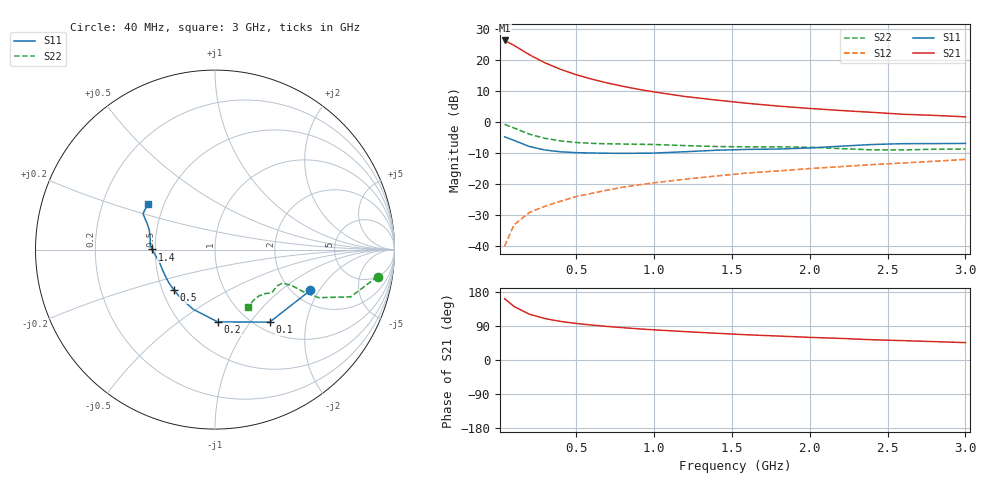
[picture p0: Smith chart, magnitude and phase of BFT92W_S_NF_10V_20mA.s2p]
! Filename:  BFT92WJ.S2P  Version:  4.0
! Philips part #: BFT92W  Date: Jun 1994
! Bias condition: Vce=10V, Ic=20mA
#  MHz  S  MA  R  50
! Freq  S11  S21  S12  S22  !GUM [dB]
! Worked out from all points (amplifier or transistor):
!   21 points, 40 MHz to 3 GHz, reference 50 ohm
!   highest |S21| = 26.3 dB at 40 MHz (marker M1)
!   |S21| within 3 dB of that: start of sweep to 146.6 MHz
!   unconditionally stable (mu >= 1): 455.2 MHz to end of sweep
!   at 300 MHz: K = 0.86, MSG = 23.1 dB, |S12| = -27.1 dB
!   at 1 GHz: K = 1.17, MAG = 12.1 dB, |S12| = -19.6 dB
!   at 3 GHz: K = 1.15, MAG = 4.5 dB, |S12| = -12.0 dB
!   lowest NFmin = 3.40 dB at 500 MHz
!   S11 on the Smith chart (normalised r, x): 40 MHz: 2.46, -1.68; 100 MHz: 1.15, -1.25; 200 MHz: 0.74, -0.71; 500 MHz: 0.57, -0.29; 1.4 GHz: 0.48, +0.00; 3 GHz: 0.41, +0.26
40  0.578 -23.1  20.59 161.8  0.01 78.3  0.918 -9.4
100  0.506 -53.0  17.17 141.4  0.022 68.8  0.801 -19.2
200  0.403 -87.9  12.1 120.8  0.035 63.3  0.636 -24.9
300  0.354 -110.1  8.97 109.3  0.044 62.5  0.545 -25.5
400  0.331 -125.4  7.047 101.8  0.053 63.5  0.496 -25.2
500  0.321 -135.6  5.781 96.4  0.063 64.6  0.468 -25.2
600  0.317 -143.7  4.906 92.2  0.071 65.8  0.453 -25.5
700  0.314 -150.1  4.255 88.5  0.08 66.4  0.446 -25.7
800  0.313 -155.6  3.763 85.3  0.089 67.1  0.442 -25.8
900  0.314 -160.8  3.365 82.2  0.097 67.4  0.438 -25.8
1000  0.316 -165.8  3.05 79.6  0.105 67.7  0.434 -26.0
1200  0.332 -174.1  2.574 74.9  0.12 68.1  0.417 -26.9
1400  0.351 179.9  2.257 70.6  0.135 68.5  0.403 -29.7
1600  0.362 175.3  2.001 66.5  0.151 68.6  0.398 -33.7
1800  0.367 169.9  1.804 63.2  0.163 69.3  0.398 -36.4
2000  0.382 163.4  1.653 59.7  0.178 69.8  0.392 -38.2
2200  0.408 158.5  1.533 57.0  0.191 70.4  0.373 -41.0
2400  0.434 155.2  1.432 53.5  0.206 70.7  0.356 -46.4
2600  0.448 153.5  1.332 51.1  0.219 70.7  0.355 -52.9
2800  0.449 150.4  1.279 48.5  0.233 71.4  0.364 -57.5
3000  0.452 145.9  1.211 45.9  0.25 71.8  0.368 -60.4
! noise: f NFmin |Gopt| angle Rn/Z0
500  3.4  0.198  66.9  0.68
1000  4.8  0.212  102.9  0.86
